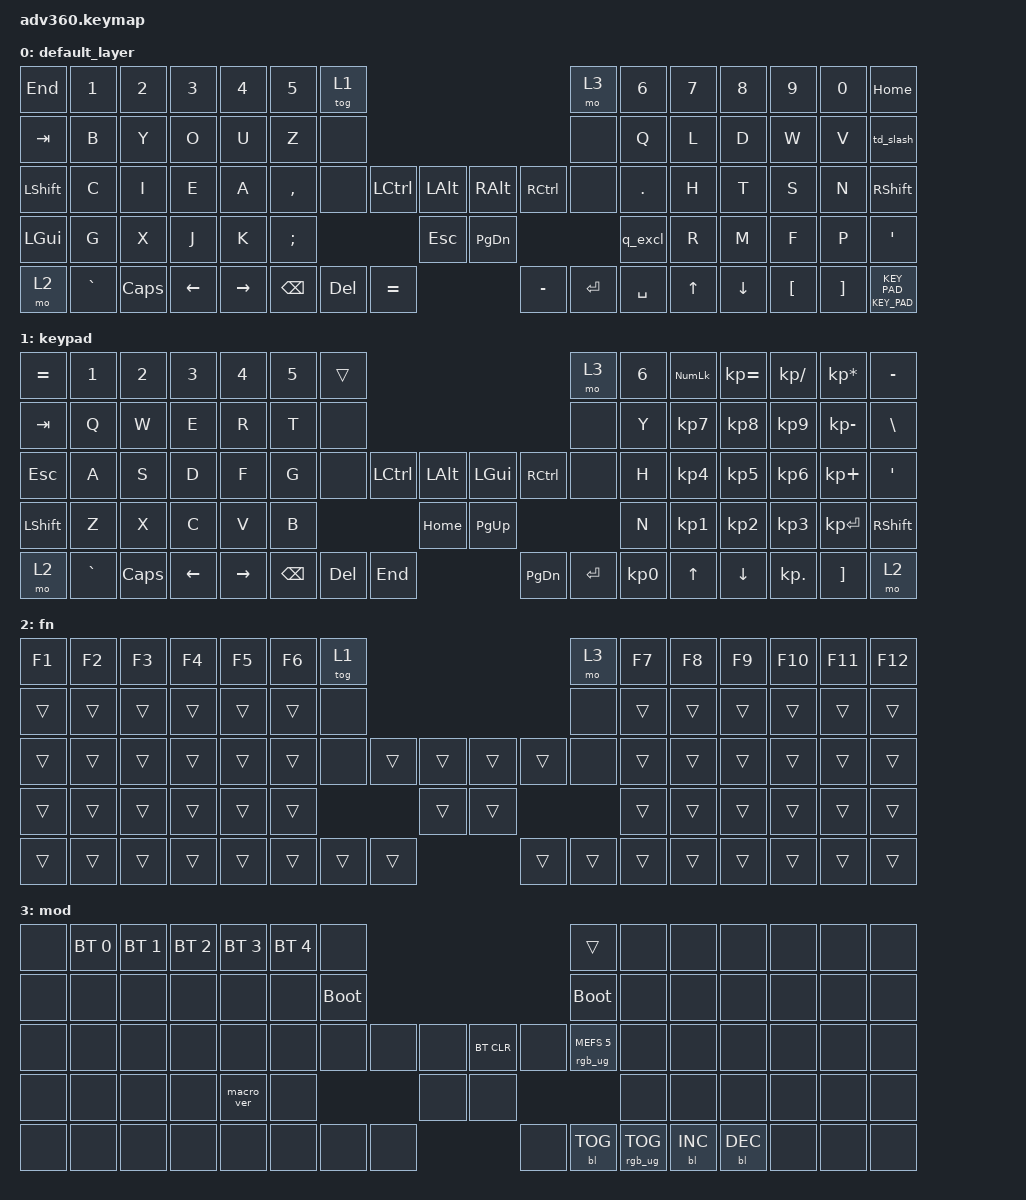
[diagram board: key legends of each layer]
#include <behaviors.dtsi>
#include <dt-bindings/zmk/keys.h>
#include <dt-bindings/zmk/bt.h>
#include <dt-bindings/zmk/rgb.h>
#include <dt-bindings/zmk/backlight.h>

#define DEFAULT 0
#define KEY_PAD  1
#define FN   2
#define MOD   3
#define QWERTY   4
#define SHIFT_LAYER   5
//#define SYMBOL_LAYER   6
//#define GAME_LAYER   7
//#define CODE   8

/{
    behaviors {
      #include "macros.dtsi"
      #include "version.dtsi"
      #ifndef VERSION_MACRO
      macro_ver: macro_ver {
        compatible = "zmk,behavior-macro";
        label = "macro_version";
        #binding-cells = <0>;
        bindings = <&kp RET>;
      };
      #endif

      hm: homerow_mods {
          compatible = "zmk,behavior-hold-tap";
          label = "HOMEROW_MODS";
          #binding-cells = <2>;
          tapping-term-ms = <200>;
          quick_tap_ms = <175>;
          flavor = "tap-preferred";
          bindings = <&kp>, <&kp>;
      };
   
   mo_tog: behavior_mo_tog {
          compatible = "zmk,behavior-hold-tap";
          label = "mo_tog";
          #binding-cells = <2>;
          flavor = "hold-preferred";
          tapping-term-ms = <200>;
          bindings = <&mo>, <&tog>;
		};
   
   td_slash: tp_slash {
          compatible = "zmk,behavior-tap-dance";
          label = "TAP_DANCE_SLASH";
          #binding-cells = <0>;
          tapping-term-ms = <200>;
          bindings = <&kp SLASH>, <&kp PIPE>, <&kp BACKSLASH>;
		};
   
   q_excl: q_excl {
          compatible = "zmk,behavior-mod-morph";
          label = "question_exclamation";
          #binding-cells = <0>;
          bindings = <&kp QUESTION>, <&kp EXCLAMATION>;
          mods = <(MOD_LSFT|MOD_RSFT)>;
		};
    };

keymap {
    compatible = "zmk,keymap";

//  ╭────────────────────────────┬────────────────────────────╮
//  │  0   1   2   3   4   5   6 │  7   8   9  10  11  12  13 │
//  │ 14  15  16  17  18  19  20 │ 21  22  23  24  25  26  27 │
//  │ 28  29  30  31  32  33  34 │ 35  36  37  38  39  40  41 │
//  │ 42  43  44  45  46  47 ╭───┴───╮ 48  49  50  51  52  53 │
//  │ 54  55  56  57  58╭────╯       ╰────╮59  60  61  62  63 │
//  ╰───────────────────┼────────┬────────┼───────────────────╯
//                  ╭───╯ 64  65 │ 66  67 ╰───╮
//                  │ 68  69  70 │ 71  72  73 │
//                  ╰───────╮ 74 │ 75 ╭───────╯
//                          ╰────┴────╯
// Modified Engram layout
//   ,--------------------------------------------------.                                           ,--------------------------------------------------.                      
//   |    =   |   1  |   2  |   3  |  4   |   5  |Tog 1 |                                           | Mod 3|   6  |   7  |   8  |   9  |   0  |  Home  |
//   |--------+------+------+------+------+------+------|                                           |------+------+------+------+------+------+--------|
//   |   TAB  |   B  |   Y  |   O  |   U  |   Z  |      |                                           |      |   F  |   G  |   C  |   R  |   L  |  /|\   |
//   |--------+------+------+------+------+------+------|       ,-----+-----.  ,-----+-----.        |------+------+------+------+------+------+--------|
//   | L Shift|   C  |   I  |   E  |   A  |   ,  |      |       |L Ctl|L Alt|  |R Alt|R Ctl|        |      |   D  |   H  |   T  |   N  |   S  | R Shift|
//   |--------+------+------+------+------+------+------' .-----+-----+-----|  |-----+-----+-----.  '------+------+------+------+------+------+--------|
//   | L GUI  |   G  |   X  |   J  |   K  |   ;  |        |Back |     | Home|  |Pg Up|     |     |         |  ?!  |   M  |   W  |   V  |   Z  |   '    |
//   |--------+------+------+------+------+------'        |Space| Del |-----|  |-----|Enter|Space|         '------+------+------+------+------+--------|
//   | KeyPad |   `  | CAPS | Left | Right|               |     |     |  =+ |  |  -  |     |     |                |  Up  | Down |  [{  |  }]  |        |
//   `--------+------+------+------+------'               '-----+-----+-----+  +-----+-----+-----'                '------+------+------+------+--------'

	default_layer {
		bindings = <
			&kp END	  &kp N1     &kp N2    &kp N3    &kp N4	    &kp N5     &tog 1										   &mo 3    &kp N6  	&kp N7     &kp N8    &kp N9    &kp N0	&kp HOME
			&kp TAB	  &kp B      &kp Y     &kp O     &kp U	    &kp Z      &none                                                           			   &none    &kp Q   	&kp L	   &kp D     &kp W     &kp V	&td_slash
			&kp LSHFT &kp C	     &kp I     &kp E     &kp A	    &kp COMMA  &none		&kp LCTRL    &kp LALT		&kp RALT    &kp RCTRL		   &none    &kp PERIOD	&kp H	   &kp T     &kp S     &kp N	&kp RSHFT
			&kp LGUI  &kp G      &kp X     &kp J     &kp K	    &kp SEMI				     &kp ESC		&kp PG_DN			   	    &q_excl     &kp R      &kp M     &kp F     &kp P    &kp SQT
			&mo 2	  &kp GRAVE  &kp CAPS  &kp LEFT  &kp RIGHT			&kp BSPC   &kp DEL   &kp EQUAL		&kp MINUS   &kp ENTER  &kp SPACE	    &kp UP	&kp DOWN   &kp LBKT  &kp RBKT  &mo_tog KEY_PAD KEY_PAD
		>;
	};

//ENGRAM Mod
//	default_layer {
//      bindings = <
//        &kp END   &kp N1    &kp N2    &kp N3    &kp N4    &kp N5     &tog 1                                                               &mo 3 &kp N6   &kp N7   &kp N8   &kp N9   &kp N0 &kp HOME
//        &kp TAB   &kp B     &kp Y     &kp O     &kp U     &kp Z      &none                                                                &none &kp Q    &kp L    &kp D    &kp W    &kp V  &kp BSLH
//        &kp LSHFT &kp C     &kp I     &kp E     &kp A     &kp COMMA  &none              &kp LCTRL &kp LALT  &kp RALT  &kp RCTRL           &none &kp DOT  &kp H    &kp T    &kp S    &kp N  &kp RSHFT
//        &kp LGUI  &kp G     &kp X     &kp J     &kp K     &kp SEMI                                &kp ESC   &kp PG_DN                         &kp FSLH &kp R    &kp M    &kp F    &kp P  &kp SQT
//        &mo 2     &kp GRAVE &kp CAPS  &kp LEFT  &kp RIGHT                     &kp BSPC  &kp DEL   &kp EQUAL &kp MINUS &kp ENTER &kp SPACE             &kp UP   &kp DOWN &kp LBKT &kp RBKT &mo 1
//      >;
//	};

//QWERTY 
//    default_layer {
//      bindings = <
//        &kp EQUAL     &kp N1    &kp N2   &kp N3   &kp N4     &kp N5 &tog 1                                                           &mo 3 &kp N6 &kp N7 &kp N8    &kp N9   &kp N0   &kp MINUS
//       &kp TAB  &kp Q     &kp W    &kp E    &kp R      &kp T  &none                                                            &none &kp Y  &kp U  &kp I     &kp O    &kp P    &kp BSLH
//        &kp LSHFT  &kp A     &kp S    &kp D    &kp F      &kp G  &none           &kp LCTRL &kp LALT &kp LGUI  &kp RCTRL           &none &kp H  &kp J  &kp K     &kp L    &kp SEMI &kp RSHFT
//        &kp LGUI  &kp Z     &kp X    &kp C    &kp V      &kp B                            &kp HOME &kp PG_UP                           &kp N  &kp M  &kp COMMA &kp DOT  &kp FSLH &kp SQT
//        &mo 2   &kp GRAVE &kp CAPS &kp LEFT &kp RIGHT                &kp BSPC &kp DEL   &kp END  &kp PG_DN &kp ENTER &kp SPACE              &kp UP &kp DOWN  &kp LBKT &kp RBKT &mo 2
//      >;
//    };
 
    keypad {
      bindings = <
        &kp EQUAL &kp N1    &kp N2   &kp N3   &kp N4     &kp N5 &trans                                                           &mo 3 &kp N6 &kp KP_NUM &kp KP_EQUAL &kp KP_DIVIDE &kp KP_MULTIPLY &kp MINUS
        &kp TAB   &kp Q     &kp W    &kp E    &kp R      &kp T  &none                                                            &none &kp Y  &kp KP_N7  &kp KP_N8    &kp KP_N9     &kp KP_MINUS    &kp BSLH
        &kp ESC   &kp A     &kp S    &kp D    &kp F      &kp G  &none           &kp LCTRL &kp LALT &kp LGUI  &kp RCTRL           &none &kp H  &kp KP_N4  &kp KP_N5    &kp KP_N6     &kp KP_PLUS     &kp SQT
        &kp LSHFT &kp Z     &kp X    &kp C    &kp V      &kp B                            &kp HOME &kp PG_UP                           &kp N  &kp KP_N1  &kp KP_N2    &kp KP_N3     &kp KP_ENTER    &kp RSHFT
        &mo 2     &kp GRAVE &kp CAPS &kp LEFT &kp RIGHT                &kp BSPC &kp DEL   &kp END  &kp PG_DN &kp ENTER &kp KP_N0              &kp UP     &kp DOWN     &kp KP_DOT    &kp RBKT        &mo 2
      >;
    };
 
    fn {
      bindings = <
        &kp F1 &kp F2 &kp F3 &kp F4 &kp F5 &kp F6 &tog 1                                           &mo 3 &kp F7 &kp F8 &kp F9 &kp F10 &kp F11 &kp F12
        &trans &trans &trans &trans &trans &trans  &none                                           &none &trans &trans &trans &trans  &trans  &trans
        &trans &trans &trans &trans &trans &trans  &none        &trans &trans &trans &trans        &none &trans &trans &trans &trans  &trans  &trans
        &trans &trans &trans &trans &trans &trans                      &trans &trans                     &trans &trans &trans &trans  &trans  &trans
        &trans &trans &trans &trans &trans               &trans &trans &trans &trans &trans &trans              &trans &trans &trans  &trans  &trans
      >;
    };
 
    mod {
      bindings = <
        &none &bt BT_SEL 0 &bt BT_SEL 1 &bt BT_SEL 2 &bt BT_SEL 3 &bt BT_SEL 4 &none                                                                     &trans                 &none        &none        &none        &none &none &none
        &none &none        &none        &none        &none        &none        &bootloader                                                               &bootloader            &none        &none        &none        &none &none &none
        &none &none        &none        &none        &none        &none        &none                   &none &none &bt BT_CLR &none                      &rgb_ug RGB_MEFS_CMD 5 &none        &none        &none        &none &none &none
        &none &none        &none        &none        &macro_ver   &none                                      &none &none                                                        &none        &none        &none        &none &none &none
        &none &none        &none        &none        &none                                       &none &none &none &none      &bl BL_TOG &rgb_ug RGB_TOG                                     &bl BL_INC   &bl BL_DEC   &none &none &none
      >;
    };
  };
};
